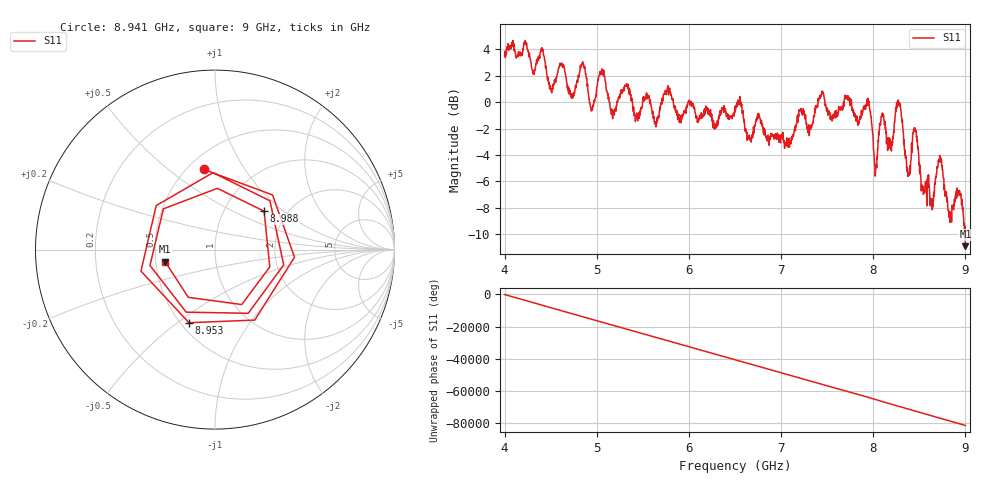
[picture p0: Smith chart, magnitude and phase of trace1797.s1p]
! Created with skrf 1.8.0 (http://scikit-rf.org).
# Hz S RI R 50.0
!freq ReS11 ImS11
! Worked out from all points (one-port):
!   1601 points, 4 GHz to 9 GHz, reference 50 ohm
!   lowest |S11| = -10.9 dB at 9 GHz (marker M1), VSWR 1.80, Z = 28.1 - j4.16 ohm
!   |S11| at or under -10 dB: 8.995996 GHz to end of sweep
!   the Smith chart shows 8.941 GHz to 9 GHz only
!   S11 on the Smith chart (normalised r, x): 8.941 GHz: 0.60, +0.67; 8.953 GHz: 0.55, -0.55; 8.988 GHz: 1.53, +0.75; 9 GHz: 0.56, -0.08
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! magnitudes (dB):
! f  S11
! 4 GHz  3.5
! 4.409 GHz  4.1
! 4.503 GHz  0.9
! 4.625 GHz  2.9
! 4.731 GHz  0.7
! 4.853 GHz  2.8
! 4.944 GHz  -0.5
! 5.05 GHz  2.2
! 5.169 GHz  -0.7
! 5.25 GHz  0.6
! 5.875 GHz  -0.7
! 6.5 GHz  -0.3
! 7.125 GHz  -2.6
! 7.75 GHz  -0.3
! 7.95 GHz  0.0
! 8.025 GHz  -5.3
! 8.091 GHz  -1.1
! 8.181 GHz  -2.7
! 8.278 GHz  0.0
! 8.375 GHz  -5.6
! 8.453 GHz  -1.9
! 8.634 GHz  -7.4
! 8.722 GHz  -4.0
! 8.828 GHz  -8.3
! 8.941 GHz  -6.9
! 8.953 GHz  -7.3
! 8.988 GHz  -9.2
! 9 GHz  -10.9
